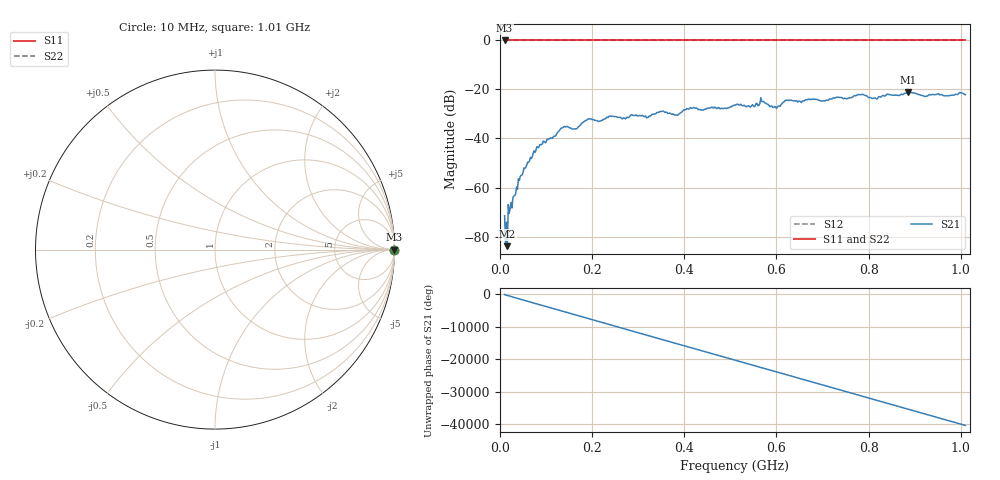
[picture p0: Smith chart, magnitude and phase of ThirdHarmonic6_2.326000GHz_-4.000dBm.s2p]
! 8/17/2025 3:19:57 AM
! C:\ANRITSUVNA\TEMP\TEMP.S2P
! CHANNEL.1
! TR.MEASUREMENT
! RAW.DATA
! RF.CORRECTION.OFF
! AVERAGING.OFF
! IF.BANDWIDTH: 5KHZ
! SWEEPTYPE:  FREQ.SWEEP(Linear)
! Reference Plane Port Info
! PORT:  PORT1  PORT2
! DISTANCE:  0  m  0  m
! TIME:  0  s  0  s
! PHASE.OFFSET:  0  deg.  0  deg.
! LOSS:  0  dB  0  dB
! REF.LOSS:  0  dB  0  dB
! REF.FREQ:  0  Hz  0  Hz
! Power Info
! POWER:  -20  dBm  -20  dBm
! EFF.POWER:  -20  dBm  -20  dBm
! SOURCE.ATTEN:  0  dB  0  dB
! TEST.ATTEN:  0  dB  0  dB
# GHZ S RI R 50.0
! FREQ.GHZ  S11RE  S11IM  S21RE  S21IM  S12RE  S12IM  S22RE  S22IM
!; PortSelection: Port_12
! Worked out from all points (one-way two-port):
!   501 points, 10 MHz to 1.01 GHz, reference 50 ohm
!   highest |S21| = -21.15 dB at 886 MHz (marker M1); lowest = -83.9 dB at 16 MHz (marker M2)
!   lowest |S11| = 0.0 dB at 10 MHz (marker M3)
!   |S11| at or under -10 dB: nowhere
!   |S22| runs from 0.0 to 0.0 dB; largest |S21 - S12| = 1.1
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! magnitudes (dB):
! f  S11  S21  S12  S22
! 10 MHz  0.0  -71.5  0.0  0.0
! 12 MHz  0.0  -83.3  0.0  0.0
! 16 MHz  0.0  -83.9  0.0  0.0
! 22 MHz  0.0  -68.6  0.0  0.0
! 44 MHz  0.0  -55.5  0.0  0.0
! 76 MHz  0.0  -45.7  0.0  0.0
! 136 MHz  0.0  -35.6  0.0  0.0
! 162 MHz  0.0  -36.0  0.0  0.0
! 178 MHz  0.0  -33.7  0.0  0.0
! 322 MHz  0.0  -31.4  0.0  0.0
! 344 MHz  0.0  -29.4  0.0  0.0
! 382 MHz  0.0  -30.4  0.0  0.0
! 416 MHz  0.0  -27.7  0.0  0.0
! 510 MHz  0.0  -26.4  0.0  0.0
! 548 MHz  0.0  -26.2  0.0  0.0
! 570 MHz  0.0  -25.0  0.0  0.0
! 596 MHz  0.0  -26.9  0.0  0.0
! 622 MHz  0.0  -24.4  0.0  0.0
! 678 MHz  0.0  -24.0  0.0  0.0
! 844 MHz  0.0  -22.1  0.0  0.0
! 886 MHz  0.0  -21.1  0.0  0.0
! 1.01 GHz  0.0  -22.1  0.0  0.0
